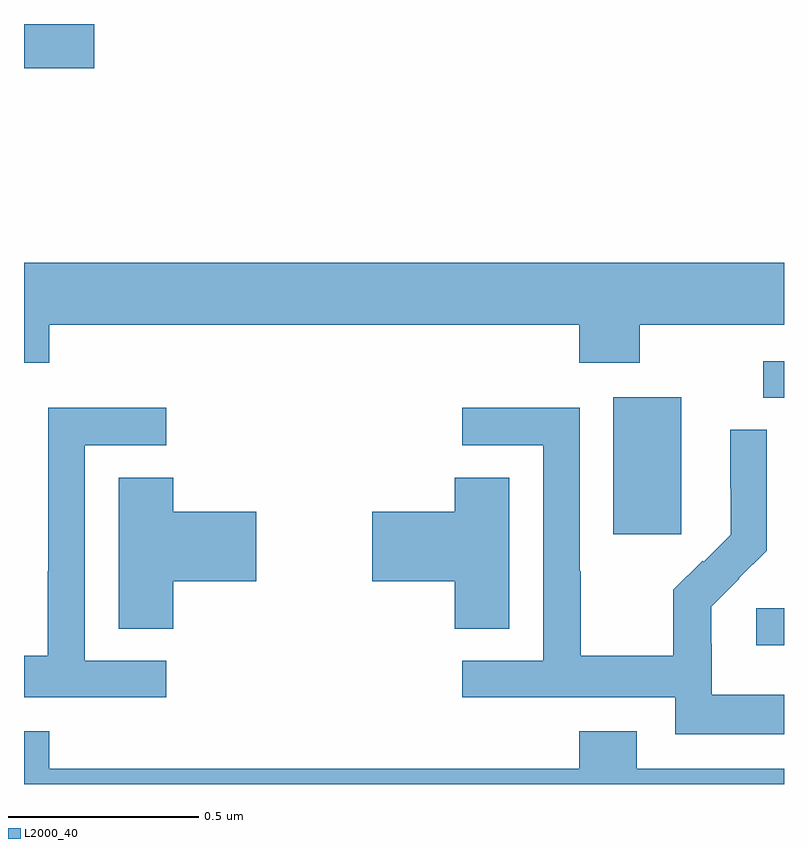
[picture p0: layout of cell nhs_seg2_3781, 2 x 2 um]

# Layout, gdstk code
import gdstk
lib = gdstk.Library(unit=1e-6, precision=1e-09)
def R(c, l, rs):  # rectangles x0, y0, x1, y1
    for r in rs: c.add(gdstk.rectangle(r[:2], r[2:], *l))
def P(c, l, *ps):  # polygons
    for p in ps: c.add(gdstk.Polygon(p, *l))
L2000_40 = (2000, 40)

nhs_seg2_3781 = lib.new_cell('nhs_seg2_3781')
R(nhs_seg2_3781, L2000_40, [(159.927,608.165,160,608.262), (159.551,608.457,159.73,608.818), (159.945,608.817,160,608.913), (158,609.683,158.185,609.8)])
P(nhs_seg2_3781, L2000_40, [(158.066,609.008),(159.461,609.008),(159.461,608.909),(159.621,608.909),(159.621,609.008),(160,609.008),(160,609.172),(158,609.172),(158,608.909),(158.066,608.909)],
  [(160,608.035),(159.81,608.035),(159.81,608.169),(159.808,608.169),(159.808,608.266),(159.882,608.34),(159.881,608.341),(159.954,608.414),(159.954,608.732),(159.858,608.732),(159.858,608.578),(159.86,608.578),(159.86,608.456),(159.789,608.385),(159.786,608.388),(159.709,608.311),(159.709,608.137),(159.465,608.137),(159.465,608.36),(159.462,608.36),(159.462,608.79),(159.153,608.79),(159.153,608.691),(159.366,608.691),(159.366,608.124),(159.153,608.124),(159.153,608.028),(159.714,608.028),(159.714,607.931),(160,607.931)],
  [(158.374,608.124),(158.16,608.124),(158.16,608.691),(158.374,608.691),(158.374,608.79),(158.064,608.79),(158.064,608.36),(158.062,608.36),(158.062,608.137),(158,608.137),(158,608.028),(158.374,608.028)],
  [(159.277,608.606),(159.134,608.606),(159.134,608.516),(158.916,608.516),(158.916,608.333),(159.134,608.333),(159.134,608.209),(159.277,608.209)],
  [(158.393,608.333),(158.611,608.333),(158.611,608.516),(158.393,608.516),(158.393,608.606),(158.249,608.606),(158.249,608.209),(158.393,608.209)],
  [(160,607.84),(159.613,607.84),(159.613,607.939),(159.461,607.939),(159.461,607.84),(158.066,607.84),(158.066,607.939),(158,607.939),(158,607.8),(160,607.8)])

lib.write_gds('nhs_seg2_3781.gds')
